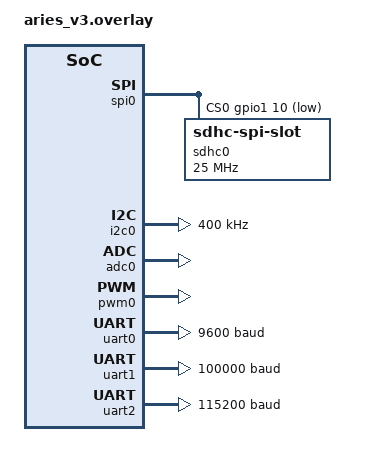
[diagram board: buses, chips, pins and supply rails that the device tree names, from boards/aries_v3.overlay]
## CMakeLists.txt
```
# CMakeLists.txt - Build system configuration for VEGA ARIES v3 Flight Controller
# Target: C-DAC THEJAS32 SoC (VEGA ET1031 RISC-V @ 100 MHz)
# Zephyr RTOS Application

cmake_minimum_required(VERSION 3.20.0)

list(APPEND ZEPHYR_EXTRA_MODULES ${CMAKE_CURRENT_SOURCE_DIR}/../module)

find_package(Zephyr REQUIRED HINTS $ENV{ZEPHYR_BASE})
project(aries_v3_flight_controller LANGUAGES C)

# Application include paths
target_include_directories(app PRIVATE
    ${CMAKE_CURRENT_SOURCE_DIR}/src
    ${CMAKE_CURRENT_SOURCE_DIR}/src/actuators
    ${CMAKE_CURRENT_SOURCE_DIR}/src/sensors
    ${CMAKE_CURRENT_SOURCE_DIR}/src/control
    ${CMAKE_CURRENT_SOURCE_DIR}/src/rc
    ${CMAKE_CURRENT_SOURCE_DIR}/src/system
)

# Application source files
target_sources(app PRIVATE
    src/main.c
    src/actuators/esc_pwm.c
    src/sensors/mpu6050.c
    src/sensors/bmp280.c
    src/sensors/mag.c
    src/sensors/gnss.c
    src/control/ahrs.c
    src/control/pid.c
    src/control/mixer.c
    src/control/altitude.c
    src/rc/sbus.c
    src/system/battery.c
    src/system/failsafe.c
    src/system/telemetry.c
    src/system/logger.c
)
target_link_libraries(app PRIVATE m)
```

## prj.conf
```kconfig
# prj.conf - Zephyr Project Configuration for VEGA ARIES v3 S500 Flight Controller
# Target: C-DAC THEJAS32 SoC (VEGA ET1031 RISC-V 32-bit @ 100 MHz)
# Total SRAM: 256 KB (Code/Data ~240 KB, Heap 8 KB, Thread Stacks ~12 KB)

# ------------------------------------------------------------------------------
# Architecture & Core Capabilities
# ------------------------------------------------------------------------------

# ------------------------------------------------------------------------------
# C Standard Library & Floating Point Formatter
# ------------------------------------------------------------------------------
CONFIG_NEWLIB_LIBC=y
CONFIG_CBPRINTF_FP_SUPPORT=y

# ------------------------------------------------------------------------------
# RTOS Kernel & Memory Management
# ------------------------------------------------------------------------------
CONFIG_MULTITHREADING=y
CONFIG_SYS_CLOCK_TICKS_PER_SEC=1000
CONFIG_TIMING_FUNCTIONS=y

# Exact Memory Budgeting for 256 KB On-Chip SRAM Layout
CONFIG_MAIN_STACK_SIZE=1536
CONFIG_ISR_STACK_SIZE=2048
CONFIG_SYSTEM_WORKQUEUE_STACK_SIZE=1536
CONFIG_HEAP_MEM_POOL_SIZE=4096


# ------------------------------------------------------------------------------
# Peripheral Subsystems
# ------------------------------------------------------------------------------
# I2C Subsystem (for MPU6050, BMP280, QMC5883L/HMC5883L on i2c0 @ 0x10000800)
CONFIG_I2C=y

# PWM Subsystem (for 400 Hz ESC signals on pwm0 @ 0x10400000)
CONFIG_PWM=y

# ADC Subsystem (for battery voltage monitoring on adc0 @ 0x10001000)
CONFIG_ADC=y

# UART Subsystem (UART0 for GNSS, UART1 for SBUS, UART2 for Telemetry)
CONFIG_SERIAL=y
CONFIG_UART_INTERRUPT_DRIVEN=y
CONFIG_UART_LINE_CTRL=y

# GPIO Subsystem (for SD Card SPI Chip-Select on GPIO1 Pin 10)
CONFIG_GPIO=y

# SPI Subsystem (SPI0 for MicroSD card @ 0x10000600)
CONFIG_SPI=y

# ------------------------------------------------------------------------------
# Disk Access & FatFS File System Subsystem (Phase 5 Blackbox Logging)
# ------------------------------------------------------------------------------
CONFIG_DISK_ACCESS=y
CONFIG_FILE_SYSTEM=y
CONFIG_FAT_FILESYSTEM_ELM=y
CONFIG_FS_FATFS_MOUNT_MKFS=y
CONFIG_FS_FATFS_CODEPAGE=437
CONFIG_FS_FATFS_LFN=y

# SDHC SPI Driver & MMC Stack
CONFIG_SDHC=y
CONFIG_SPI_SDHC=y
CONFIG_MMC_STACK=y
CONFIG_SDMMC_STACK=y

# ------------------------------------------------------------------------------
# System Logging & Diagnostics
# ------------------------------------------------------------------------------
CONFIG_LOG=y
CONFIG_LOG_MODE_DEFERRED=y
CONFIG_LOG_BUFFER_SIZE=2048
CONFIG_LOG_DEFAULT_LEVEL=3
CONFIG_LOG_BACKEND_UART=y
CONFIG_ASSERT=y
```

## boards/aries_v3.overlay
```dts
/*
 * aries_v3.overlay - DeviceTree Overlay for VEGA ARIES v3.0 Flight Controller
 * Target: C-DAC THEJAS32 SoC / VEGA ET1031 RISC-V @ 100 MHz
 *
 * Peripheral Mapping:
 * - UART0 @ 0x10000100 : GNSS NMEA Receiver (@ 9600 baud, 8N1)
 * - UART1 @ 0x10000200 : RC Receiver (SBUS @ 100,000 baud, 8E2)
 * - UART2 @ 0x10000300 : Telemetry / Debug Link (@ 115,200 baud, 8N1)
 * - GPIO1 @ 0x10180000 : General Purpose I/O (Pin 10 -> SD Card CS)
 * - SPI0  @ 0x10000600 : MicroSD Card Slot (SDHC-SPI Mode @ 25 MHz)
 * - I2C0  @ 0x10000800 : Shared Sensor Bus (MPU6050 @ 0x68, BMP280 @ 0x76, MAG @ 0x0D/0x1E)
 * - ADC0  @ 0x10001000 : Battery Voltage Monitor (Channel 0, scaled divider)
 * - PWM0  @ 0x10400000 : 8-Channel Timer PWM (Channels 0-3 for Quad-X ESCs @ 400 Hz)
 */

#include <zephyr/dt-bindings/gpio/gpio.h>

/ {
	chosen {
		zephyr,console = &uart2;
		zephyr,shell-uart = &uart2;
	};

	aliases {
		gnss-uart = &uart0;
		sbus-uart = &uart1;
		telemetry-uart = &uart2;
		imu-i2c = &i2c0;
		baro-i2c = &i2c0;
		mag-i2c = &i2c0;
		motor-pwm = &pwm0;
		battery-adc = &adc0;
		spi0 = &spi0;
		sdhc0 = &sdhc0;
	};

	soc {
		spi0: spi@10000600 {
			compatible = "cdac,thejas32-spi";
			reg = <0x10000600 0x14>;
			#address-cells = <1>;
			#size-cells = <0>;
			cs-gpios = <&gpio1 10 GPIO_ACTIVE_LOW>;
			status = "okay";

			sdhc0: sdhc@0 {
				compatible = "zephyr,sdhc-spi-slot";
				reg = <0>;
				status = "okay";
				spi-max-frequency = <25000000>;
				mmc {
					compatible = "zephyr,sdmmc-disk";
					status = "okay";
					disk-name = "SD";
				};
			};
		};

		i2c0: i2c@10000800 {
			compatible = "cdac,thejas32-i2c";
			reg = <0x10000800 0x0b>;
			#address-cells = <1>;
			#size-cells = <0>;
			clock-frequency = <400000>;
			status = "okay";
		};

		adc0: adc@10001000 {
			compatible = "cdac,thejas32-adc";
			reg = <0x10001000 0x0c>;
			#io-channel-cells = <1>;
			status = "okay";
		};

		pwm0: pwm@10400000 {
			compatible = "cdac,thejas32-pwm";
			reg = <0x10400000 0x90>;
			#pwm-cells = <3>;
			status = "okay";
		};
	};
};

&uart0 {
	status = "okay";
	current-speed = <9600>;
};

&uart1 {
	status = "okay";
	current-speed = <100000>;
};

&uart2 {
	status = "okay";
	current-speed = <115200>;
};
```

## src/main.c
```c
/*
 * main.c - Production Flight Controller Core & RTOS Scheduling Executive
 * Target: C-DAC THEJAS32 SoC (VEGA ET1031 RISC-V 32-bit @ 100 MHz)
 * Airframe: S500 Quadcopter (~2.5 kg AUW, Quad-X Layout)
 *
 * System Architecture & Threading Model:
 * - 256 KB On-Chip SRAM (Static stacks and buffers, zero dynamic allocation)
 * - Thread 1: flight_control_thread (250 Hz / 4 ms, K_PRIO_PREEMPT(1), Stack 4 KB)
 * - Thread 2: altitude_control_thread (50 Hz / 20 ms, K_PRIO_PREEMPT(2), Stack 2 KB)
 * - Thread 3: rc_receiver_thread (100 Hz / 10 ms, K_PRIO_PREEMPT(3), Stack 2 KB)
 * - Thread 4: housekeeping_telemetry_thread (10 Hz / 100 ms, K_PRIO_PREEMPT(6), Stack 2 KB)
 */

#include <zephyr/kernel.h>
#include <zephyr/logging/log.h>
#include <zephyr/drivers/uart.h>
#include <zephyr/spinlock.h>
#include <stdio.h>
#include <math.h>

#include "config.h"
#include "types.h"
#include "mpu6050.h"
#include "bmp280.h"
#include "mag.h"
#include "gnss.h"
#include "ahrs.h"
#include "pid.h"
#include "mixer.h"
#include "altitude.h"
#include "sbus.h"
#include "battery.h"
#include "failsafe.h"
#include "logger.h"
#include "esc_pwm.h"
#include "telemetry.h"

LOG_MODULE_REGISTER(flight_core, CONFIG_LOG_DEFAULT_LEVEL);

/* -------------------------------------------------------------------------- */
/* Static Stack & Thread Allocations (Strict 10 KB Total Stack Budget)        */
/* -------------------------------------------------------------------------- */

K_THREAD_STACK_DEFINE(s_flight_stack, FLIGHT_THREAD_STACK_SIZE);
K_THREAD_STACK_DEFINE(s_altitude_stack, ALTITUDE_THREAD_STACK_SIZE);
K_THREAD_STACK_DEFINE(s_rc_stack, RC_THREAD_STACK_SIZE);
K_THREAD_STACK_DEFINE(s_telemetry_stack, TELEMETRY_THREAD_STACK_SIZE);

static struct k_thread s_flight_thread_data;
static struct k_thread s_altitude_thread_data;
static struct k_thread s_rc_thread_data;
static struct k_thread s_telemetry_thread_data;

/* -------------------------------------------------------------------------- */
/* Global Flight State & Controller Instances                                 */
/* -------------------------------------------------------------------------- */

static volatile flight_state_t s_flight_state = STATE_CALIBRATING;
static volatile flight_mode_t s_flight_mode = MODE_ANGLE;

/* Inner Loop (Rate) PID Controllers */
static pid_controller_t s_pid_roll_rate;
static pid_controller_t s_pid_pitch_rate;
static pid_controller_t s_pid_yaw_rate;

/* Latest System States for Cross-Thread Exchange */
static flight_setpoints_t s_current_setpoints;
static sbus_channels_t s_current_rc_raw;
static euler_angles_t s_current_att_rad;
static euler_angles_t s_current_att_deg;
static vector3f_t s_current_gyro_rad_s;
static motor_output_t s_current_motors;
static battery_info_t s_current_battery;
static bmp280_data_t s_current_baro;
static mag_data_t s_current_mag;
static gnss_data_t s_current_gnss;
static float s_alt_hold_throttle = 0.0f;
static uint32_t s_flight_loop_max_jitter_us = 0;
static struct k_spinlock s_state_lock;

/* Telemetry UART Device Resolution */
#if DT_NODE_EXISTS(DT_ALIAS(telemetry_uart))
static const struct device *const s_telem_uart = DEVICE_DT_GET(DT_ALIAS(telemetry_uart));
#elif DT_NODE_EXISTS(DT_NODELABEL(uart2))
static const struct device *const s_telem_uart = DEVICE_DT_GET(DT_NODELABEL(uart2));
#else
#error "DeviceTree error: Neither alias 'telemetry_uart' nor nodelabel 'uart2' found."
#endif

/* -------------------------------------------------------------------------- */
/* Helper Functions                                                           */
/* -------------------------------------------------------------------------- */

static void reset_all_pids(void)
{
	pid_reset(&s_pid_roll_rate);
	pid_reset(&s_pid_pitch_rate);
	pid_reset(&s_pid_yaw_rate);
}

static void send_telemetry_packet(const telemetry_packet_t *pkt, uint32_t jitter_us)
{
	if (!device_is_ready(s_telem_uart) || pkt == NULL) {
		return;
	}

	char buf[256];
	int len = snprintf(buf, sizeof(buf),
		"$VEGA,%u,%.1f,%.1f,%.1f,%.2f,%u,%u,%u,%u,%.2f,%u,%u,%u,%.2f,%.2f,%.1f,%.6f,%.6f,%u,%u,%u\r\n",
		pkt->timestamp_ms,
		pkt->roll_deg, pkt->pitch_deg, pkt->yaw_deg,
		pkt->throttle_pct,
		pkt->motor_pulse_us[0], pkt->motor_pulse_us[1],
		pkt->motor_pulse_us[2], pkt->motor_pulse_us[3],
		pkt->battery_voltage,
		pkt->flight_state,
		pkt->flight_mode,
		pkt->failsafe_reason,
		pkt->altitude_m,
		pkt->climb_rate_mps,
		pkt->mag_heading_deg,
		pkt->latitude,
		pkt->longitude,
		pkt->gps_sats,
		pkt->gps_fix,
		jitter_us);

	if (len > 0) {
		for (int i = 0; i < len; i++) {
			uart_poll_out(s_telem_uart, (unsigned char)buf[i]);
		}
	}
}

/* -------------------------------------------------------------------------- */
/* Thread 1: Flight Control Thread (Priority: K_PRIO_PREEMPT(1), 250 Hz)       */
/* -------------------------------------------------------------------------- */

static void flight_control_thread(void *p1, void *p2, void *p3)
{
	ARG_UNUSED(p1);
	ARG_UNUSED(p2);
	ARG_UNUSED(p3);

	LOG_INF("Flight control thread active @ %d Hz (period %d us).",
		FLIGHT_LOOP_FREQ_HZ, FLIGHT_LOOP_PERIOD_US);

	int64_t next_cycle_us = k_uptime_get_us();

	while (1) {
		int64_t cycle_start_us = k_uptime_get_us();

		/* 1. Acquire IMU Data (14-byte burst read under 16-byte limit) */
		mpu6050_data_t imu_data;
		int imu_err = mpu6050_read(&imu_data);

		if (imu_err == 0) {
			/* 2. Compute Attitude via Complementary Filter */
			ahrs_update(&imu_data.gyro, &imu_data.accel, FLIGHT_LOOP_DT_S);
			ahrs_get_euler_angles(&s_current_att_rad);
			ahrs_get_euler_degrees(&s_current_att_deg);
			s_current_gyro_rad_s = imu_data.gyro;
		} else {
			LOG_WRN("IMU burst read error: %d", imu_err);
		}

		/* 3. Retrieve Thread-Safe Flight Setpoints from RC receiver */
		flight_setpoints_t sp;
		bool sp_valid = sbus_get_setpoints(&sp);

		k_spinlock_key_t key = k_spin_lock(&s_state_lock);
		if (sp_valid) {
			s_current_setpoints = sp;
			s_flight_mode = sp.flight_mode;
		}
		flight_state_t current_state = s_flight_state;
		flight_mode_t current_mode = s_flight_mode;
		float alt_throttle = s_alt_hold_throttle;
		k_spin_unlock(&s_state_lock, key);

		/* 4. Cascaded Dual-PID Control Law Execution */
		float u_roll = 0.0f;
		float u_pitch = 0.0f;
		float u_yaw = 0.0f;
		float throttle_demand = 0.0f;
		bool motors_armed = false;

		if (current_state == STATE_ARMED) {
			motors_armed = true;

			/* Throttle Source: Altitude Hold PID vs Manual RC Throttle */
			if (current_mode == MODE_ALT_HOLD) {
				throttle_demand = alt_throttle;
			} else {
				throttle_demand = sp.throttle;
			}

			float target_roll_rate_rad_s = 0.0f;
			float target_pitch_rate_rad_s = 0.0f;
			float target_yaw_rate_rad_s = sp.target_yaw_rate_dps * (3.14159265f / 180.0f);

			if (current_mode == MODE_ANGLE || current_mode == MODE_ALT_HOLD) {
				/* Outer Angle Loop: Angle Error -> Target Angular Rate (rad/s) */
				float target_roll_angle_rad = sp.target_roll_deg * (3.14159265f / 180.0f);
				float target_pitch_angle_rad = sp.target_pitch_deg * (3.14159265f / 180.0f);

				float roll_err = target_roll_angle_rad - s_current_att_rad.roll;
				float pitch_err = target_pitch_angle_rad - s_current_att_rad.pitch;

				target_roll_rate_rad_s = roll_err * ROLL_ANGLE_KP;
				target_pitch_rate_rad_s = pitch_err * PITCH_ANGLE_KP;

				/* Clamp target rates to safe airframe envelope */
				if (target_roll_rate_rad_s > MAX_ROLL_PITCH_RATE_RAD_S) {
					target_roll_rate_rad_s = MAX_ROLL_PITCH_RATE_RAD_S;
				} else if (target_roll_rate_rad_s < -MAX_ROLL_PITCH_RATE_RAD_S) {
					target_roll_rate_rad_s = -MAX_ROLL_PITCH_RATE_RAD_S;
				}

				if (target_pitch_rate_rad_s > MAX_ROLL_PITCH_RATE_RAD_S) {
					target_pitch_rate_rad_s = MAX_ROLL_PITCH_RATE_RAD_S;
				} else if (target_pitch_rate_rad_s < -MAX_ROLL_PITCH_RATE_RAD_S) {
					target_pitch_rate_rad_s = -MAX_ROLL_PITCH_RATE_RAD_S;
				}
			} else {
				/* Rate / Acrobatic Mode: Direct stick-to-rate mapping */
				target_roll_rate_rad_s = (sp.target_roll_deg / MAX_ROLL_PITCH_ANGLE_DEG) *
							 MAX_ROLL_PITCH_RATE_RAD_S;
				target_pitch_rate_rad_s = (sp.target_pitch_deg / MAX_ROLL_PITCH_ANGLE_DEG) *
							  MAX_ROLL_PITCH_RATE_RAD_S;
			}

			/* Inner Rate Loop: Compares desired rates against gyro measurements */
			u_roll = pid_update(&s_pid_roll_rate, target_roll_rate_rad_s,
					    s_current_gyro_rad_s.x, FLIGHT_LOOP_DT_S);
			u_pitch = pid_update(&s_pid_pitch_rate, target_pitch_rate_rad_s,
					     s_current_gyro_rad_s.y, FLIGHT_LOOP_DT_S);
			u_yaw = pid_update(&s_pid_yaw_rate, target_yaw_rate_rad_s,
					   s_current_gyro_rad_s.z, FLIGHT_LOOP_DT_S);

		} else if (current_state == STATE_FAILSAFE) {
			/* Failsafe Landing: Auto-level roll/pitch and ramp descent throttle */
			motors_armed = true;
			throttle_demand = failsafe_get_throttle();

			float target_roll_rate = (0.0f - s_current_att_rad.roll) * ROLL_ANGLE_KP;
			float target_pitch_rate = (0.0f - s_current_att_rad.pitch) * PITCH_ANGLE_KP;
			float target_yaw_rate = 0.0f;

			u_roll = pid_update(&s_pid_roll_rate, target_roll_rate,
					    s_current_gyro_rad_s.x, FLIGHT_LOOP_DT_S);
			u_pitch = pid_update(&s_pid_pitch_rate, target_pitch_rate,
					     s_current_gyro_rad_s.y, FLIGHT_LOOP_DT_S);
			u_yaw = pid_update(&s_pid_yaw_rate, target_yaw_rate,
					   s_current_gyro_rad_s.z, FLIGHT_LOOP_DT_S);

		} else {
			/* Disarmed or Emergency Cutoff */
			motors_armed = false;
			throttle_demand = 0.0f;
			reset_all_pids();
		}

		/* 5. Quad-X Motor Mixing Matrix */
		motor_output_t motors;
		mixer_compute(throttle_demand, u_roll, u_pitch, u_yaw, motors_armed, &motors);

		/* 6. Hardware Actuation via PWM0 (Channels 0-3 @ 400 Hz) */
		mixer_apply_output(&motors);

		key = k_spin_lock(&s_state_lock);
		s_current_motors = motors;
		k_spin_unlock(&s_state_lock, key);

		/* 7. Push Binary Frame to Blackbox Logger (Lock-Free & Non-Blocking) */
		logger_log_flight_data((uint32_t)cycle_start_us, &sp,
				       &s_current_att_rad, &s_current_gyro_rad_s,
				       u_roll, u_pitch, u_yaw,
				       &motors, s_current_battery.voltage,
				       (uint8_t)current_state, (uint8_t)current_mode,
				       0);

		/* 8. Loop Jitter Tracking and Deterministic Timing */
		int64_t cycle_elapsed_us = k_uptime_get_us() - cycle_start_us;
		uint32_t jitter_us = (cycle_elapsed_us > FLIGHT_LOOP_PERIOD_US) ?
				     (uint32_t)(cycle_elapsed_us - FLIGHT_LOOP_PERIOD_US) : 0;
		if (jitter_us > s_flight_loop_max_jitter_us) {
			s_flight_loop_max_jitter_us = jitter_us;
		}

		next_cycle_us += FLIGHT_LOOP_PERIOD_US;
		int64_t current_time_us = k_uptime_get_us();
		int64_t sleep_us = next_cycle_us - current_time_us;

		if (sleep_us > 0) {
			k_usleep((int32_t)sleep_us);
		} else {
			next_cycle_us = current_time_us;
		}
	}
}

/* -------------------------------------------------------------------------- */
/* Thread 2: Altitude Control & Navigation Thread (Priority: K_PRIO_PREEMPT(2), 50 Hz) */
/* -------------------------------------------------------------------------- */

static void altitude_control_thread(void *p1, void *p2, void *p3)
{
	ARG_UNUSED(p1);
	ARG_UNUSED(p2);
	ARG_UNUSED(p3);

	LOG_INF("Altitude & navigation control thread active @ 50 Hz.");

	while (1) {
		/* 1. Acquire BMP280 Barometer Data */
		bmp280_data_t baro;
		bmp280_read(&baro);

		/* 2. Acquire Magnetometer Data with AHRS Tilt Compensation */
		euler_angles_t att;
		flight_mode_t mode;
		float stick_throttle;

		k_spinlock_key_t key = k_spin_lock(&s_state_lock);
		att = s_current_att_rad;
		mode = s_flight_mode;
		stick_throttle = s_current_setpoints.throttle;
		k_spin_unlock(&s_state_lock, key);

		mag_data_t mag;
		mag_read(att.roll, att.pitch, &mag);

		/* 3. Run Cascaded Altitude Controller */
		bool is_alt_hold = (mode == MODE_ALT_HOLD);
		float computed_alt_throttle = altitude_controller_update(
			stick_throttle,
			baro.altitude_filtered_m,
			baro.climb_rate_mps,
			is_alt_hold,
			ALTITUDE_LOOP_DT_S
		);

		key = k_spin_lock(&s_state_lock);
		s_current_baro = baro;
		s_current_mag = mag;
		s_alt_hold_throttle = computed_alt_throttle;
		k_spin_unlock(&s_state_lock, key);

		k_msleep(ALTITUDE_LOOP_PERIOD_MS);
	}
}

/* -------------------------------------------------------------------------- */
/* Thread 3: RC Receiver & GNSS Thread (Priority: K_PRIO_PREEMPT(3), 100 Hz)   */
/* -------------------------------------------------------------------------- */

static void rc_receiver_thread(void *p1, void *p2, void *p3)
{
	ARG_UNUSED(p1);
	ARG_UNUSED(p2);
	ARG_UNUSED(p3);

	LOG_INF("RC receiver thread active (100 Hz).");

	while (1) {
		/* 1. Process SBUS Byte Stream on UART1 */
		sbus_process();

		sbus_channels_t raw_rc;
		if (sbus_get_channels(&raw_rc)) {
			k_spinlock_key_t key = k_spin_lock(&s_state_lock);
			s_current_rc_raw = raw_rc;
			k_spin_unlock(&s_state_lock, key);
		}

		/* 2. Process GNSS NMEA Byte Stream on UART0 */
		gnss_process();

		k_msleep(RC_THREAD_PERIOD_MS);
	}
}

/* -------------------------------------------------------------------------- */
/* Thread 4: Housekeeping & Telemetry Thread (Priority: K_PRIO_PREEMPT(6), 10 Hz) */
/* -------------------------------------------------------------------------- */

static void housekeeping_telemetry_thread(void *p1, void *p2, void *p3)
{
	ARG_UNUSED(p1);
	ARG_UNUSED(p2);
	ARG_UNUSED(p3);

	LOG_INF("Housekeeping & telemetry thread active (10 Hz).");

	while (1) {
		/* 1. Sample ADC0 and Update Battery Voltage */
		battery_update();

		battery_info_t bat;
		battery_get_info(&bat);

		bool bat_crit = battery_is_critical();
		bool imu_healthy = mpu6050_is_healthy();

		/* 2. Query Latest GNSS Data */
		gnss_data_t gnss;
		gnss_get_data(&gnss);

		/* 3. Run Failsafe Supervisor State Machine */
		sbus_channels_t rc;
		sbus_get_channels(&rc);

		k_spinlock_key_t key = k_spin_lock(&s_state_lock);
		flight_state_t cur_state = s_flight_state;
		euler_angles_t att_rad = s_current_att_rad;
		k_spin_unlock(&s_state_lock, key);

		flight_state_t next_state = failsafe_update(cur_state, &rc, &att_rad,
							    imu_healthy, bat_crit,
							    TELEMETRY_PERIOD_MS);

		key = k_spin_lock(&s_state_lock);
		s_flight_state = next_state;
		s_current_battery = bat;
		s_current_gnss = gnss;
		motor_output_t motors = s_current_motors;
		euler_angles_t att_deg = s_current_att_deg;
		vector3f_t gyro_rate = s_current_gyro_rad_s;
		flight_mode_t mode = s_flight_mode;
		bmp280_data_t baro = s_current_baro;
		mag_data_t mag = s_current_mag;
		uint32_t jitter = s_flight_loop_max_jitter_us;
		k_spin_unlock(&s_state_lock, key);

		/* 4. Assemble and Transmit Downlink Telemetry Packet over UART2 */
		failsafe_state_t fs_state;
		failsafe_get_state(&fs_state);

		telemetry_packet_t pkt;
		pkt.timestamp_ms = (uint32_t)k_uptime_get_32();
		pkt.roll_deg = att_deg.roll;
		pkt.pitch_deg = att_deg.pitch;
		pkt.yaw_deg = att_deg.yaw;
		pkt.roll_rate_dps = gyro_rate.x * (180.0f / 3.14159f);
		pkt.pitch_rate_dps = gyro_rate.y * (180.0f / 3.14159f);
		pkt.yaw_rate_dps = gyro_rate.z * (180.0f / 3.14159f);
		pkt.throttle_pct = rc.throttle_norm * 100.0f;
		for (int i = 0; i < 4; i++) {
			pkt.motor_pulse_us[i] = (uint16_t)motors.pulse_us[i];
		}
		pkt.battery_voltage = bat.voltage;
		pkt.flight_state = (uint8_t)next_state;
		pkt.flight_mode = (uint8_t)mode;
		pkt.failsafe_reason = (uint8_t)fs_state.reason_mask;
		pkt.altitude_m = baro.altitude_filtered_m;
		pkt.climb_rate_mps = baro.climb_rate_mps;
		pkt.mag_heading_deg = mag.heading_deg;
		pkt.latitude = gnss.latitude;
		pkt.longitude = gnss.longitude;
		pkt.gps_sats = gnss.satellites;
		pkt.gps_fix = gnss.fix_quality;

		send_telemetry_packet(&pkt, jitter);
		telemetry_set_state(pkt.roll_deg, pkt.pitch_deg, pkt.yaw_deg,
				    rc.throttle_norm, pkt.battery_voltage,
				    (next_state == STATE_ARMED), (uint8_t)mode,
				    fs_state.active);

		k_msleep(TELEMETRY_PERIOD_MS);
	}
}

/* -------------------------------------------------------------------------- */
/* Main System Initialization                                                 */
/* -------------------------------------------------------------------------- */

int main(void)
{
	LOG_INF("=====================================================");
	LOG_INF(" VEGA ARIES v3.0 S500 Flight Controller Initializing ");
	LOG_INF(" SoC: C-DAC THEJAS32 / VEGA ET1031 RISC-V @ 100 MHz  ");
	LOG_INF(" Nav Sensors: MPU6050 + BMP280 + QMC/HMC5883L + GNSS ");
	LOG_INF("=====================================================");

	/* 1. Initialize Subsystem Peripherals */
	int ret = sbus_init();
	if (ret < 0) {
		LOG_ERR("Failed to initialize SBUS RC on UART1 (err %d)", ret);
	}

	ret = esc_init();
	if (ret < 0) {
		LOG_ERR("Failed to initialize ESC PWM0 (err %d)", ret);
	}

	ret = mixer_init();
	if (ret < 0) {
		LOG_ERR("Failed to initialize Motor PWM0 (err %d)", ret);
	}

	ret = battery_init();
	if (ret < 0) {
		LOG_ERR("Failed to initialize Battery ADC0 (err %d)", ret);
	}

	ret = telemetry_init();
	if (ret < 0) {
		LOG_WRN("Failed to initialize Telemetry UART2 (err %d)", ret);
	}

	failsafe_init();

	ret = mpu6050_init();
	if (ret < 0) {
		LOG_ERR("Failed to initialize MPU6050 on I2C0 (err %d)!", ret);
	}

	/* Phase 2 Sensor Initializations */
	ret = bmp280_init();
	if (ret < 0) {
		LOG_WRN("BMP280 Barometer not detected on I2C0 (err %d)", ret);
	}

	ret = mag_init();
	if (ret < 0) {
		LOG_WRN("Magnetometer not detected on I2C0 (err %d)", ret);
	}

	ret = gnss_init(GNSS_BAUD_RATE);
	if (ret < 0) {
		LOG_WRN("GNSS Receiver not initialized on UART0 (err %d)", ret);
	}

	/* Phase 3 Altitude Controller Initialization */
	altitude_controller_init();

	/* Phase 5 MicroSD Blackbox Logger Initialization */
	ret = logger_init();
	if (ret < 0) {
		LOG_WRN("Blackbox logger not initialized on SPI0 (err %d)", ret);
	}

	/* 2. Initialize Inner Rate PID Controllers */
	pid_init(&s_pid_roll_rate, ROLL_RATE_KP, ROLL_RATE_KI, ROLL_RATE_KD,
		 -RATE_PID_OUTPUT_MAX, RATE_PID_OUTPUT_MAX,
		 -RATE_INTEGRATOR_MAX, RATE_INTEGRATOR_MAX,
		 PID_D_TERM_LPF_CUTOFF_HZ, FLIGHT_LOOP_DT_S, true);

	pid_init(&s_pid_pitch_rate, PITCH_RATE_KP, PITCH_RATE_KI, PITCH_RATE_KD,
		 -RATE_PID_OUTPUT_MAX, RATE_PID_OUTPUT_MAX,
		 -RATE_INTEGRATOR_MAX, RATE_INTEGRATOR_MAX,
		 PID_D_TERM_LPF_CUTOFF_HZ, FLIGHT_LOOP_DT_S, true);

	pid_init(&s_pid_yaw_rate, YAW_RATE_KP, YAW_RATE_KI, YAW_RATE_KD,
		 -RATE_PID_OUTPUT_MAX, RATE_PID_OUTPUT_MAX,
		 -RATE_INTEGRATOR_MAX, RATE_INTEGRATOR_MAX,
		 PID_D_TERM_LPF_CUTOFF_HZ, FLIGHT_LOOP_DT_S, true);

	/* 3. Perform 500-Sample Stationary Bias Calibration */
	LOG_INF("Calibrating IMU sensors (500 samples)... Aircraft must remain still!");
	s_flight_state = STATE_CALIBRATING;
	mpu6050_calib_t calib;
	ret = mpu6050_calibrate(&calib);
	if (ret < 0) {
		LOG_ERR("IMU Calibration failed! Halting in emergency state.");
		s_flight_state = STATE_EMERGENCY_STOP;
	} else {
		ahrs_init(FLIGHT_LOOP_FREQ_HZ, COMPLEMENTARY_ALPHA);
		s_flight_state = STATE_DISARMED;
		LOG_INF("IMU Calibration complete. Controller DISARMED & STANDBY.");
	}

	/* 4. Spawn Real-Time Preemptive RTOS Threads */
	k_thread_create(&s_flight_thread_data, s_flight_stack,
			K_THREAD_STACK_SIZEOF(s_flight_stack),
			flight_control_thread, NULL, NULL, NULL,
			K_PRIO_PREEMPT(FLIGHT_THREAD_PRIORITY), 0, K_NO_WAIT);
	k_thread_name_set(&s_flight_thread_data, "flight_ctrl");

	k_thread_create(&s_altitude_thread_data, s_altitude_stack,
			K_THREAD_STACK_SIZEOF(s_altitude_stack),
			altitude_control_thread, NULL, NULL, NULL,
			K_PRIO_PREEMPT(ALTITUDE_THREAD_PRIORITY), 0, K_NO_WAIT);
	k_thread_name_set(&s_altitude_thread_data, "alt_ctrl");

	k_thread_create(&s_rc_thread_data, s_rc_stack,
			K_THREAD_STACK_SIZEOF(s_rc_stack),
			rc_receiver_thread, NULL, NULL, NULL,
			K_PRIO_PREEMPT(RC_THREAD_PRIORITY), 0, K_NO_WAIT);
	k_thread_name_set(&s_rc_thread_data, "rc_rx");

	k_thread_create(&s_telemetry_thread_data, s_telemetry_stack,
			K_THREAD_STACK_SIZEOF(s_telemetry_stack),
			housekeeping_telemetry_thread, NULL, NULL, NULL,
			K_PRIO_PREEMPT(TELEMETRY_THREAD_PRIORITY), 0, K_NO_WAIT);
	k_thread_name_set(&s_telemetry_thread_data, "housekeeping");

	LOG_INF("All RTOS flight threads active (Flight 250Hz, Alt 50Hz, RC 100Hz, Telem 10Hz).");
	return 0;
}
```

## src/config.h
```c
/*
 * config.h - System Configuration, Pinouts, Limits, and Flight Dynamics Constants
 * Target: C-DAC THEJAS32 SoC (VEGA ET1031 RISC-V @ 100 MHz)
 * Airframe: S500 Quadcopter (~2.5 kg AUW, Quad-X Layout)
 */

#ifndef CONFIG_H_
#define CONFIG_H_

#include <stdint.h>
#include <stdbool.h>

/* ========================================================================== */
/* Hardware Memory & RTOS Thread Configuration                                */
/* ========================================================================== */

#define FLIGHT_THREAD_STACK_SIZE       4096
#define ALTITUDE_THREAD_STACK_SIZE     2048
#define RC_THREAD_STACK_SIZE           2048
#define TELEMETRY_THREAD_STACK_SIZE    2048

/* Thread Priorities (Preemptive) */
#define FLIGHT_THREAD_PRIORITY         1    /* K_PRIO_PREEMPT(1) - 250 Hz flight loop */
#define ALTITUDE_THREAD_PRIORITY       2    /* K_PRIO_PREEMPT(2) - 50 Hz altitude loop */
#define RC_THREAD_PRIORITY             3    /* K_PRIO_PREEMPT(3) - 100 Hz SBUS rx */
#define TELEMETRY_THREAD_PRIORITY      6    /* K_PRIO_PREEMPT(6) - 10 Hz housekeeping */

/* Flight Loop Execution Frequency (250 Hz / 4 ms) */
#define FLIGHT_LOOP_FREQ_HZ            250
#define FLIGHT_LOOP_PERIOD_US          (1000000 / FLIGHT_LOOP_FREQ_HZ) /* 4000 us */
#define FLIGHT_LOOP_DT_S               (1.0f / (float)FLIGHT_LOOP_FREQ_HZ) /* 0.004 s */

/* Altitude Control Loop Frequency (50 Hz / 20 ms) */
#define ALTITUDE_LOOP_FREQ_HZ          50
#define ALTITUDE_LOOP_PERIOD_MS        (1000 / ALTITUDE_LOOP_FREQ_HZ)  /* 20 ms */
#define ALTITUDE_LOOP_DT_S             (1.0f / (float)ALTITUDE_LOOP_FREQ_HZ) /* 0.02 s */

/* Background Subsystem Rates */
#define RC_THREAD_PERIOD_MS            10   /* 10 ms / 100 Hz */
#define TELEMETRY_RATE_HZ              10   /* 10 Hz */
#define TELEMETRY_PERIOD_MS            (1000 / TELEMETRY_RATE_HZ)      /* 100 ms */
#define BATTERY_RATE_HZ                10   /* 10 Hz */
#define BATTERY_PERIOD_MS              (1000 / BATTERY_RATE_HZ)        /* 100 ms */

/* ========================================================================== */
/* MPU6050 Inertial Measurement Unit & I2C0 Bus                               */
/* ========================================================================== */

#define MPU6050_I2C_ADDR               0x68

/* Strict C-DAC THEJAS32 i2c_thejas32 hardware limit: max burst read is 16 bytes */
#define THEJAS32_I2C_MAX_BURST_LEN     16
#define MPU6050_BURST_READ_SIZE        14   /* Accel(6) + Temp(2) + Gyro(6) = 14 bytes */

/* Full Scale Range Configurations */
#define MPU6050_ACCEL_FS_8G            0x10 /* +/- 8g range (4096 LSB/g) */
#define MPU6050_GYRO_FS_1000DPS        0x10 /* +/- 1000 deg/s (32.8 LSB/(deg/s)) */
#define MPU6050_DLPF_42HZ              0x03 /* DLPF 42 Hz bandwidth */

/* Physical Unit Conversion Constants */
#define GRAVITY_MSS                    9.80665f
#define ACCEL_SCALE_FACTOR_8G          (GRAVITY_MSS / 4096.0f)           /* m/s^2 per LSB */
#define GYRO_SCALE_FACTOR_1000DPS      (0.017453292519943295f / 32.8f)  /* rad/s per LSB */
#define GYRO_SCALE_FACTOR_DEG          (1.0f / 32.8f)                   /* deg/s per LSB */

/* IMU Calibration Parameters (Startup stationary bias) */
#define IMU_CALIB_SAMPLES              500

/* ========================================================================== */
/* Attitude Filter (Complementary Filter) Parameters                          */
/* ========================================================================== */

#define COMPLEMENTARY_ALPHA            0.980f

/* ========================================================================== */
/* Barometer (BMP280) & Magnetometer (QMC5883L/HMC5883L) Parameters           */
/* ========================================================================== */

#define BMP280_POLL_RATE_HZ            50
#define MAG_POLL_RATE_HZ               50
#define DEFAULT_MAG_DECLINATION_DEG    0.5f  /* Configurable local magnetic declination */

/* ========================================================================== */
/* GNSS Receiver (UART0 @ 0x10000100) Parameters                              */
/* ========================================================================== */

#define GNSS_BAUD_RATE                 9600  /* Standard NMEA baud rate */

/* ========================================================================== */
/* PWM0 & Motor ESC Output (Quad-X S500 Airframe)                             */
/* ========================================================================== */

#define THEJAS32_PWM0_BASE_ADDR        0x10400000
#define THEJAS32_PWM_GLOBAL_ENABLE_REG 0x80     /* Global enable register offset */
#define THEJAS32_PWM_ENABLE_BIT        (1 << 0)

/* 400 Hz Standard Multirotor ESC Timing */
#define PWM_FREQ_HZ                    400
#define PWM_PERIOD_NS                  2500000  /* 2.5 ms = 2,500,000 ns */
#define PWM_PERIOD_US                  2500

/* ESC Pulse Width Specifications (Microseconds) */
#define PWM_PULSE_DISARMED_US          900      /* Forced when disarmed */
#define PWM_PULSE_MIN_US               1000     /* 1000 us idle minimum */
#define PWM_PULSE_ARMED_IDLE_US        1100     /* Minimum spin when armed */
#define PWM_PULSE_MAX_US               2000     /* 2000 us maximum throttle */

/* Motor Hardware Channel Assignments */
#define MOTOR_CHANNEL_FR               0        /* Front-Right (CCW) -> Motor 1 -> Ch 0 */
#define MOTOR_CHANNEL_RR               1        /* Rear-Right  (CW)  -> Motor 2 -> Ch 1 */
#define MOTOR_CHANNEL_RL               2        /* Rear-Left   (CCW) -> Motor 3 -> Ch 2 */
#define MOTOR_CHANNEL_FL               3        /* Front-Left  (CW)  -> Motor 4 -> Ch 3 */

/* ========================================================================== */
/* Cascaded Dual-PID Controller Tuning (S500 Multirotor ~2.5 kg AUW)          */
/* ========================================================================== */

/* Inner Rate Loop */
#define ROLL_RATE_KP                   0.150f
#define ROLL_RATE_KI                   0.100f
#define ROLL_RATE_KD                   0.0040f

#define PITCH_RATE_KP                  0.150f
#define PITCH_RATE_KI                  0.100f
#define PITCH_RATE_KD                  0.0040f

#define YAW_RATE_KP                    0.250f
#define YAW_RATE_KI                    0.050f
#define YAW_RATE_KD                    0.0000f

/* Rate Loop Output and Integrator Clamping */
#define RATE_INTEGRATOR_MAX            0.25f
#define RATE_PID_OUTPUT_MAX            0.80f
#define PID_D_TERM_LPF_CUTOFF_HZ       30.0f

/* Outer Angle Loop */
#define ROLL_ANGLE_KP                  4.50f
#define PITCH_ANGLE_KP                 4.50f

/* Flight Envelope Limits */
#define MAX_ROLL_PITCH_ANGLE_DEG       30.0f    /* +/- 30.0 degrees */
#define MAX_ROLL_PITCH_ANGLE_RAD       0.5235988f
#define MAX_ROLL_PITCH_RATE_RAD_S      3.490659f /* 200.0 deg/s */
#define MAX_YAW_RATE_DPS               180.0f   /* +/- 180.0 deg/s */
#define MAX_YAW_RATE_RAD_S             3.14159265f

/* ========================================================================== */
/* RC Receiver & SBUS Protocol (UART1 @ 100,000 Baud, 8E2)                    */
/* ========================================================================== */

#define SBUS_FRAME_LEN                 25
#define SBUS_HEADER_BYTE               0x0F
#define SBUS_END_BYTE_STANDARD         0x00
#define SBUS_END_BYTE_FUTABA2          0x04

#define SBUS_CH_ROLL                   0
#define SBUS_CH_PITCH                  1
#define SBUS_CH_THROTTLE               2
#define SBUS_CH_YAW                    3
#define SBUS_CH_ARM                    4        /* AUX1: Arm / Disarm switch */
#define SBUS_CH_MODE                   5        /* AUX2: Flight Mode 3-pos switch */

#define SBUS_INPUT_MIN                 172
#define SBUS_INPUT_CENTER              992
#define SBUS_INPUT_MAX                 1811
#define SBUS_STICK_DEADBAND            15
#define SBUS_ARM_THRESHOLD             1400

/* Mode Switch Thresholds (3-position switch on AUX2) */
#define SBUS_MODE_ANGLE_MIN_THRESH     1300     /* 1300 to 1700 selects Angle Mode */
#define SBUS_MODE_ALT_HOLD_THRESH      1700     /* > 1700 selects Altitude Hold Mode */

#define RC_TIMEOUT_MS                  500

/* ========================================================================== */
/* Battery Monitoring & ADC0                                                  */
/* ========================================================================== */

#define BATTERY_ADC_CHANNEL            0
#define ADC_REF_VOLTAGE_V              3.3f
#define ADC_MAX_VALUE                  4095.0f

#define BATTERY_R1_OHMS                10000.0f
#define BATTERY_R2_OHMS                2200.0f
#define BATTERY_VOLTAGE_DIVIDER_RATIO  ((BATTERY_R1_OHMS + BATTERY_R2_OHMS) / BATTERY_R2_OHMS)
#define BATTERY_EMA_ALPHA              0.10f

#define LIPO_4S_CELLS                  4
#define LIPO_4S_FULL_V                 16.8f
#define LIPO_4S_WARN_V                 14.4f
#define LIPO_4S_CRIT_V                 13.2f

#define LIPO_3S_CELLS                  3
#define LIPO_3S_FULL_V                 12.6f
#define LIPO_3S_WARN_V                 10.8f
#define LIPO_3S_CRIT_V                 9.9f

#define LIPO_CELL_DETECT_THRESHOLD_V   13.0f

/* ========================================================================== */
/* Safety, Failsafe & Arming Checks                                           */
/* ========================================================================== */

#define ARMING_MAX_TILT_RAD            0.174533f /* 10.0 degrees */
#define CRASH_TILT_LIMIT_DEG           75.0f
#define CRASH_TILT_LIMIT_RAD           1.3089969f
#define FAILSAFE_DESCENT_THROTTLE      0.30f
#define FAILSAFE_DESCENT_TIME_MS       5000
#define BATTERY_CRITICAL_TIMEOUT_MS    2000

#endif /* CONFIG_H_ */
```

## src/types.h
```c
/*
 * types.h - Primary Data Type Definitions for VEGA ARIES v3 S500 Flight Controller
 * Target: C-DAC THEJAS32 SoC (VEGA ET1031 RISC-V @ 100 MHz)
 * Zephyr RTOS Application
 */

#ifndef TYPES_H_
#define TYPES_H_

#include <stdint.h>
#include <stdbool.h>
#include <stddef.h>
#include <zephyr/kernel.h>
#include <zephyr/sys/time_units.h>

static inline int64_t k_uptime_get_us(void)
{
	return k_ticks_to_us_floor64(k_uptime_ticks());
}

/* -------------------------------------------------------------------------- */
/* Mathematical Vector and Attitude Representations                           */
/* -------------------------------------------------------------------------- */

typedef struct {
	float x;
	float y;
	float z;
} vector3f_t;

typedef struct {
	float w;
	float x;
	float y;
	float z;
} quaternion_t;

typedef struct {
	float roll;   /* Radians or degrees (context defined) */
	float pitch;  /* Radians or degrees */
	float yaw;    /* Radians or degrees */
} euler_angles_t;

/* -------------------------------------------------------------------------- */
/* System States and Flight Modes                                             */
/* -------------------------------------------------------------------------- */

typedef enum {
	STATE_DISARMED = 0,
	STATE_CALIBRATING = 1,
	STATE_ARMED = 2,
	STATE_FAILSAFE = 3,
	STATE_EMERGENCY_STOP = 4
} flight_state_t;

typedef enum {
	MODE_RATE     = 0,   /* Acrobatic mode: direct rate gyro PID control */
	MODE_ANGLE    = 1,   /* Stabilize mode: outer angle PID + inner rate PID */
	MODE_ALT_HOLD = 2    /* Altitude hold mode: cascaded altitude PID controls collective throttle */
} flight_mode_t;

typedef enum {
	BATTERY_OK = 0,
	BATTERY_WARNING = 1,
	BATTERY_CRITICAL = 2
} battery_status_t;

typedef enum {
	FAILSAFE_REASON_NONE           = 0,
	FAILSAFE_REASON_RC_LOST        = (1 << 0),
	FAILSAFE_REASON_LOW_BATTERY    = (1 << 1),
	FAILSAFE_REASON_EXCESSIVE_TILT = (1 << 2),
	FAILSAFE_REASON_IMU_FAILURE    = (1 << 3),
	FAILSAFE_REASON_MANUAL_ABORT   = (1 << 4)
} failsafe_reason_t;

/* -------------------------------------------------------------------------- */
/* Sensor Data Structures                                                     */
/* -------------------------------------------------------------------------- */

typedef struct {
	int16_t accel_x;
	int16_t accel_y;
	int16_t accel_z;
	int16_t temp;
	int16_t gyro_x;
	int16_t gyro_y;
	int16_t gyro_z;
} mpu6050_raw_t;

typedef struct {
	vector3f_t accel_offset;
	vector3f_t gyro_bias;
	vector3f_t accel_scale;
	bool is_calibrated;
} mpu6050_calib_t;

typedef struct {
	vector3f_t accel;       /* Accelerations in m/s^2 (Body frame) */
	vector3f_t gyro;        /* Angular rates in rad/s (Body frame) */
	float temperature_c;    /* Die temperature in degrees Celsius */
	uint32_t timestamp_us;  /* Acquisition time in microseconds */
} mpu6050_data_t;

/* -------------------------------------------------------------------------- */
/* Remote Control (RC) / SBUS Data Structures                                 */
/* -------------------------------------------------------------------------- */

typedef struct {
	uint16_t raw_channels[16];  /* 11-bit raw channels (172..1811) */
	float roll_norm;            /* Scaled [-1.0f, +1.0f] */
	float pitch_norm;           /* Scaled [-1.0f, +1.0f] */
	float yaw_norm;             /* Scaled [-1.0f, +1.0f] */
	float throttle_norm;        /* Scaled [0.0f, +1.0f] */
	bool arm_switch;            /* True = Armed requested */
	flight_mode_t mode_switch;  /* MODE_ANGLE, MODE_RATE, or MODE_ALT_HOLD */
	bool frame_lost;            /* SBUS frame lost flag */
	bool failsafe_active;       /* SBUS hardware failsafe flag */
	uint32_t last_packet_time_ms;
} sbus_channels_t;
typedef sbus_channels_t rc_channels_t;

/* Thread-safe normalized flight setpoints exchanged via mutex */
typedef struct {
	float target_roll_deg;       /* [-30.0, +30.0] in Angle mode */
	float target_pitch_deg;      /* [-30.0, +30.0] in Angle mode */
	float target_yaw_rate_dps;   /* [-180.0, +180.0] deg/s */
	float throttle;              /* [0.0, 1.0] */
	bool arm_switch;
	flight_mode_t flight_mode;
	bool signal_valid;
	uint32_t timestamp_ms;
} flight_setpoints_t;

/* -------------------------------------------------------------------------- */
/* PID Controller Data Structures                                             */
/* -------------------------------------------------------------------------- */

typedef struct {
	float kp;
	float ki;
	float kd;
	float integrator;
	float prev_measurement;
	float prev_error;
	float prev_derivative;
	float out_min;
	float out_max;
	float int_min;
	float int_max;
	float d_beta;               /* Filter factor beta in D[k] = beta*D[k-1] + (1-beta)*D_raw */
	bool derivative_on_measurement;
} pid_controller_t;

/* -------------------------------------------------------------------------- */
/* Actuator & Mixer Data Structures                                           */
/* -------------------------------------------------------------------------- */

typedef struct {
	float norm[4];              /* Normalized demands [0.0f, 1.0f] for Motors 1-4 */
	uint32_t pulse_us[4];       /* Microsecond pulse widths [1000..2000] (or 900 if disarmed) */
} motor_output_t;

/* -------------------------------------------------------------------------- */
/* Battery & Power Management                                                 */
/* -------------------------------------------------------------------------- */

typedef struct {
	float voltage;              /* Pack voltage in Volts */
	float cell_voltage;         /* Average voltage per cell in Volts */
	uint8_t cell_count;         /* 3 for 3S, 4 for 4S */
	battery_status_t status;
	uint16_t raw_adc;
} battery_info_t;

/* -------------------------------------------------------------------------- */
/* Safety & Failsafe Management                                               */
/* -------------------------------------------------------------------------- */

typedef struct {
	bool active;
	uint32_t reason_mask;
	uint32_t trigger_timestamp_ms;
	float descent_throttle;
} failsafe_state_t;

/* -------------------------------------------------------------------------- */
/* Telemetry Stream Structure                                                 */
/* -------------------------------------------------------------------------- */

typedef struct __attribute__((packed)) {
	uint32_t timestamp_ms;
	float roll_deg;
	float pitch_deg;
	float yaw_deg;
	float roll_rate_dps;
	float pitch_rate_dps;
	float yaw_rate_dps;
	float throttle_pct;
	uint16_t motor_pulse_us[4];
	float battery_voltage;
	uint8_t flight_state;
	uint8_t flight_mode;
	uint8_t failsafe_reason;
	float altitude_m;
	float climb_rate_mps;
	float mag_heading_deg;
	double latitude;
	double longitude;
	uint8_t gps_sats;
	uint8_t gps_fix;
} telemetry_packet_t;

#endif /* TYPES_H_ */
```
